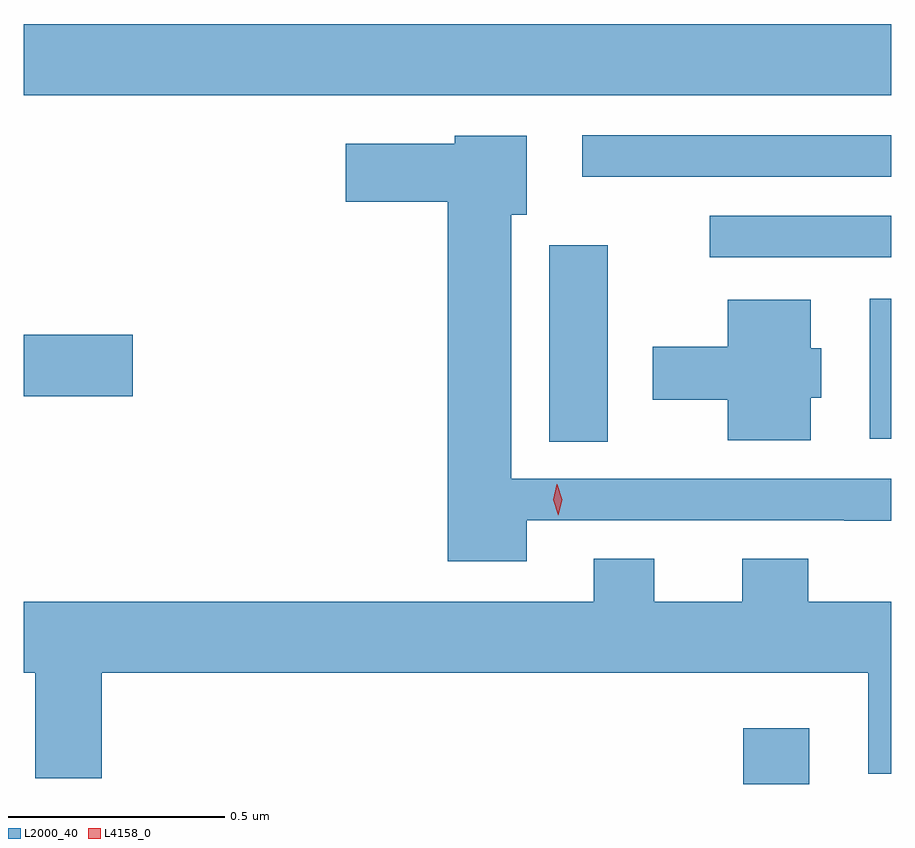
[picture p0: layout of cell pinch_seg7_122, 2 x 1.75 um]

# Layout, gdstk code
import gdstk
lib = gdstk.Library(unit=1e-6, precision=1e-09)
def R(c, l, rs):  # rectangles x0, y0, x1, y1
    for r in rs: c.add(gdstk.rectangle(r[:2], r[2:], *l))
def P(c, l, *ps):  # polygons
    for p in ps: c.add(gdstk.Polygon(p, *l))
L2000_40 = (2000, 40)
L4158_0 = (4158, 0)

pinch_seg7_122 = lib.new_cell('pinch_seg7_122')
R(pinch_seg7_122, L2000_40, [(973.223,1030.996,973.375,1031.125), (972.776,1031.785,972.91,1032.238), (973.514,1031.792,973.564,1032.115), (971.564,1031.89,971.815,1032.032), (973.146,1032.21,973.564,1032.306), (972.852,1032.396,973.564,1032.492), (971.564,1032.584,973.564,1032.748)])
P(pinch_seg7_122, L2000_40, [(972.724,1031.604),(973.456,1031.604),(973.456,1031.603),(973.564,1031.603),(973.564,1031.7),(972.688,1031.7),(972.688,1032.308),(972.724,1032.308),(972.724,1032.49),(972.558,1032.49),(972.558,1032.472),(972.306,1032.472),(972.306,1032.338),(972.542,1032.338),(972.542,1031.51),(972.724,1031.51)],
  [(973.378,1031.886),(973.402,1031.886),(973.402,1032),(973.378,1032),(973.378,1032.112),(973.187,1032.112),(973.187,1032.004),(973.014,1032.004),(973.014,1031.882),(973.187,1031.882),(973.187,1031.789),(973.378,1031.789)],
  [(971.564,1031.252),(971.591,1031.252),(971.591,1031.009),(971.744,1031.009),(971.744,1031.252),(973.511,1031.252),(973.511,1031.02),(973.564,1031.02),(973.564,1031.416),(973.373,1031.416),(973.373,1031.515),(973.22,1031.515),(973.22,1031.416),(973.018,1031.416),(973.018,1031.515),(972.878,1031.515),(972.878,1031.416),(971.564,1031.416)])
P(pinch_seg7_122, L4158_0, [(972.796,1031.615),(972.796,1031.615),(972.785,1031.651),(972.793,1031.687),(972.794,1031.687),(972.794,1031.687),(972.805,1031.651),(972.796,1031.615)])

lib.write_gds('pinch_seg7_122.gds')
